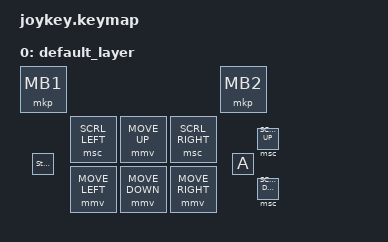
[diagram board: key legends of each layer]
#include <behaviors.dtsi>
#include <dt-bindings/zmk/keys.h>
#include <dt-bindings/zmk/mouse.h>
#include <dt-bindings/zmk/pointing.h>
#include <dt-bindings/zmk/ext_power.h>

/ {
    // Define a default keymap here.
    // See https://zmk.dev/docs/development/hardware-integration/new-shield#default-keymap.
    keymap {
        compatible = "zmk,keymap";

        default_layer {
            /* Layer 0 Base layer
            *
            *                 .------------.             .------------.                               
            *    _____________|     MB1    |_____________|    MB2     |____________ 
            *  /              '------------'             '------------'    SCRL_UP  \
            * |                                                              _  _    |
            * |   Joystick                                                =        = |
            * |    .-------.    .-----------.-----------.-----------.   =            =
            * |  /    _ _    \  | SCRL_LEFT |  MOVE_UP  |SCRL_RIGHT |  =              =
            * | .  .''   ''.  . |           |           |           |  =      A       =
            * | | (  unlock ) | |-----------+-----------+-----------|   =            =
            * | '  '.._ _..'  ' | MOVE_LEFT | MOVE_DOWN |MOVE_RIGHT |     =        = |
            * |  \           /  |           |           |           |        ~  ~    |
            * '    '-------'    '-----------'-----------'-----------'      SCRL_DOWN '
            *  \                                                                    /
            *    `-- .________________________________________________________. --'
            */
            bindings = <
&mkp MB1                        &mkp MB2
&msc SCRL_LEFT  &mmv MOVE_UP    &msc SCRL_RIGHT    &msc SCRL_UP
&studio_unlock                                     &kp A
&mmv MOVE_LEFT  &mmv MOVE_DOWN  &mmv MOVE_RIGHT    &msc SCRL_DOWN
            >;
        };

        layer1 {
            status = "reserved";
        };

        layer2 {
            status = "reserved";
        };
        layer3 {
            status = "reserved";
        };

        layer4 {
            status = "reserved";
        };
        layer5 {
            status = "reserved";
        };

        layer6 {
            status = "reserved";
        };
        layer7 {
            status = "reserved";
        };
    };
};
